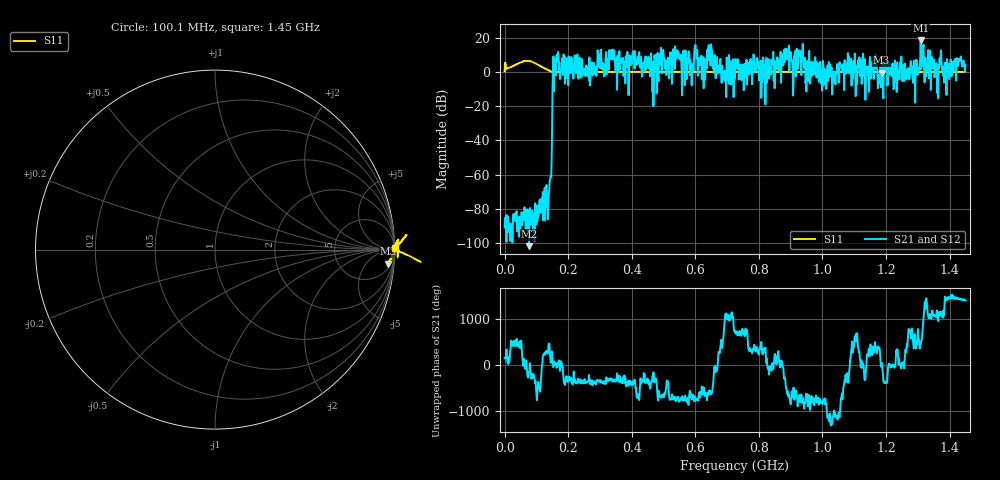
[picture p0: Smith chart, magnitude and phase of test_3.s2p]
! Created with skrf 1.11.0 (http://scikit-rf.org).
# Hz S RI R 50.0
!freq ReS11 ImS11 ReS21 ImS21 ReS12 ImS12 ReS22 ImS22
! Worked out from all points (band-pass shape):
!   1001 points, 50 kHz to 1.45 GHz, reference 50 ohm
!   highest |S21| = 18.44 dB at 1.309 GHz (marker M1); lowest = -101.9 dB at 76.9 MHz (marker M2)
!   |S21| within 3 dB of the highest: 600.0775 MHz to 600.4943 MHz (416.8 kHz wide, 0.0694 % of centre); 642.2039 MHz to 642.4415 MHz (237.6 kHz wide, 0.037 % of centre) (the widest 2 of 6)
!   lowest |S11| = -0.3 dB at 1.186 GHz (marker M3), VSWR 58.46, Z = 434 - j1.04e+03 ohm
!   |S11| at or under -10 dB: nowhere
!   |S22| runs from - to - dB; largest |S21 - S12| = 0
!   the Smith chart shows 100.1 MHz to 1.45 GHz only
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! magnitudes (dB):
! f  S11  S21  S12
! 50 kHz  0.3  -91.0  -91.0
! 76.9 MHz  6.5  -101.9  -101.9
! 140.7 MHz  0.8  -68.6  -68.6
! 159.5 MHz  0.0  7.3  7.3
! 242.2 MHz  0.0  -2.9  -2.9
! 336.4 MHz  0.0  7.5  7.5
! 484.3 MHz  0.1  -5.4  -5.4
! 543.8 MHz  0.1  12.7  12.7
! 627.9 MHz  0.1  8.0  8.0
! 645.3 MHz  0.1  7.8  7.8
! 690.2 MHz  0.1  0.1  0.1
! 725 MHz  0.1  2.0  2.0
! 790.3 MHz  0.1  0.9  0.9
! 814.9 MHz  0.2  6.7  6.7
! 887.4 MHz  0.1  13.4  13.4
! 967.2 MHz  0.1  -2.1  -2.1
! 1.163 GHz  0.1  8.6  8.6
! 1.186 GHz  -0.3  2.0  2.0
! 1.209 GHz  0.1  0.4  0.4
! 1.309 GHz  0.0  18.4  18.4
! 1.383 GHz  0.1  -6.2  -6.2
! 1.45 GHz  0.0  4.3  4.3
